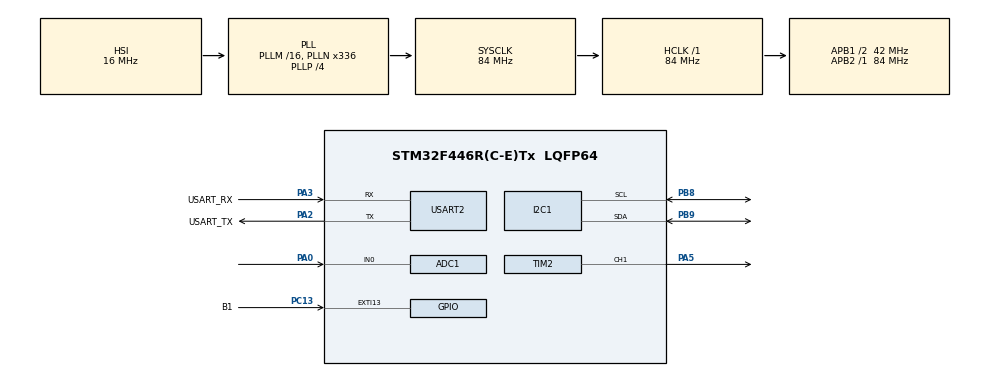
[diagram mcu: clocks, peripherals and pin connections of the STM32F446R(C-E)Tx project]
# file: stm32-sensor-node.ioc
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ADC1.Channel-0\#ChannelRegularConversion=ADC_CHANNEL_0
ADC1.Channel-1\#ChannelRegularConversion=ADC_CHANNEL_TEMPSENSOR
ADC1.Channel-2\#ChannelRegularConversion=ADC_CHANNEL_VREFINT
ADC1.ContinuousConvMode=ENABLE
ADC1.DMAContinuousRequests=ENABLE
ADC1.NbrOfConversion=3
ADC1.NbrOfConversionFlag=1
ADC1.Rank-0\#ChannelRegularConversion=1
ADC1.Rank-1\#ChannelRegularConversion=2
ADC1.Rank-2\#ChannelRegularConversion=3
ADC1.SamplingTime-0\#ChannelRegularConversion=ADC_SAMPLETIME_480CYCLES
ADC1.SamplingTime-1\#ChannelRegularConversion=ADC_SAMPLETIME_480CYCLES
ADC1.SamplingTime-2\#ChannelRegularConversion=ADC_SAMPLETIME_480CYCLES
ADC1.ScanConvMode=ENABLE
ADC1.master=1
Dma.ADC1.0.Direction=DMA_PERIPH_TO_MEMORY
Dma.ADC1.0.FIFOMode=DMA_FIFOMODE_DISABLE
Dma.ADC1.0.Instance=DMA2_Stream0
Dma.ADC1.0.MemDataAlignment=DMA_MDATAALIGN_HALFWORD
Dma.ADC1.0.MemInc=DMA_MINC_ENABLE
Dma.ADC1.0.Mode=DMA_CIRCULAR
Dma.ADC1.0.PeriphDataAlignment=DMA_PDATAALIGN_HALFWORD
Dma.ADC1.0.PeriphInc=DMA_PINC_DISABLE
Dma.ADC1.0.Priority=DMA_PRIORITY_LOW
Dma.Request0=ADC1
FREERTOS.Tasks01=shellTask,24,512,run_shell_task,Default,NULL,Dynamic,NULL,NULL;ReportTask,16,512,run_report_task,Default,NULL,Dynamic,NULL,NULL
FREERTOS.configUSE_NEWLIB_REENTRANT=1
Mcu.Family=STM32F4
Mcu.Name=STM32F446R(C-E)Tx
Mcu.Package=LQFP64
NVIC.DMA2_Stream0_IRQn=true\:5\:0\:false\:false\:true\:true\:false\:true\:true
NVIC.EXTI15_10_IRQn=true\:5\:0\:false\:false\:true\:true\:true\:true\:true
NVIC.PriorityGroup=NVIC_PRIORITYGROUP_4
NVIC.TIM7_IRQn=true\:15\:0\:false\:false\:true\:false\:false\:true\:true
NVIC.TimeBase=TIM7_IRQn
NVIC.TimeBaseIP=TIM7
NVIC.USART2_IRQn=true\:5\:0\:false\:false\:true\:true\:true\:true\:true
PA0-WKUP.Signal=ADCx_IN0
PA13.GPIO_Label=TMS
PA13.Mode=Serial_Wire
PA13.Signal=SYS_JTMS-SWDIO
PA14.GPIO_Label=TCK
PA14.Mode=Serial_Wire
PA14.Signal=SYS_JTCK-SWCLK
PA2.GPIO_Label=USART_TX
PA2.Mode=Asynchronous
PA2.Signal=USART2_TX
PA3.GPIO_Label=USART_RX
PA3.Mode=Asynchronous
PA3.Signal=USART2_RX
PA5.Signal=S_TIM2_CH1_ETR
PB3.GPIO_Label=SWO
PB3.Signal=SYS_JTDO-SWO
PB8.Mode=I2C
PB8.Signal=I2C1_SCL
PB9.Mode=I2C
PB9.Signal=I2C1_SDA
PC13.GPIO_Label=B1
PC13.GPIO_ModeDefaultEXTI=GPIO_MODE_IT_FALLING
PC13.Signal=GPXTI13
PC14-OSC32_IN.Signal=RCC_OSC32_IN
PC15-OSC32_OUT.Signal=RCC_OSC32_OUT
PH0-OSC_IN.Signal=RCC_OSC_IN
PH1-OSC_OUT.Signal=RCC_OSC_OUT
ProjectManager.HeapSize=0x200
ProjectManager.StackSize=0x400
ProjectManager.TargetToolchain=STM32CubeIDE
RCC.AHBFreq_Value=84000000
RCC.APB1CLKDivider=RCC_HCLK_DIV2
RCC.APB1Freq_Value=42000000
RCC.APB1TimFreq_Value=84000000
RCC.APB2Freq_Value=84000000
RCC.APB2TimFreq_Value=84000000
RCC.CortexFreq_Value=84000000
RCC.FLatency-AdvancedSettings=FLASH_LATENCY_2
RCC.HCLKFreq_Value=84000000
RCC.HSE_VALUE=8000000
RCC.HSI_VALUE=16000000
RCC.LSE_VALUE=32768
RCC.PLLN=336
RCC.PLLP=RCC_PLLP_DIV4
RCC.SYSCLKFreq_VALUE=84000000
RCC.SYSCLKSource=RCC_SYSCLKSOURCE_PLLCLK
RCC.USBFreq_Value=168000000
RCC.VCOOutputFreq_Value=336000000
SH.ADCx_IN0.0=ADC1_IN0,IN0
SH.S_TIM2_CH1_ETR.0=TIM2_CH1,PWM Generation1 CH1
TIM2.Channel-PWM\ Generation1\ CH1=TIM_CHANNEL_1
TIM2.Period=999
TIM2.Prescaler=83
USART2.VirtualMode=VM_ASYNC
VP_ADC1_TempSens_Input.Mode=IN-TempSens
VP_ADC1_Vref_Input.Mode=IN-Vrefint
VP_FREERTOS_VS_CMSIS_V2.Mode=CMSIS_V2
VP_SYS_VS_tim7.Mode=TIM7
VP_TIM2_VS_ClockSourceINT.Mode=Internal
board=NUCLEO-F446RE

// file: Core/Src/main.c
/* USER CODE BEGIN Header */
/**
  ******************************************************************************
  * @file           : main.c
  * @brief          : Main program body
  ******************************************************************************
  * @attention
  *
  * Copyright (c) 2026 STMicroelectronics.
  * All rights reserved.
  *
  * This software is licensed under terms that can be found in the LICENSE file
  * in the root directory of this software component.
  * If no LICENSE file comes with this software, it is provided AS-IS.
  *
  ******************************************************************************
  */
/* USER CODE END Header */
#include "main.h"
#include "cmsis_os.h"

/* USER CODE BEGIN Includes */

#include <stdbool.h>
#include <string.h>
#include <stdio.h>
#include "bme280.h"

/* USER CODE END Includes */

/* USER CODE BEGIN PTD */

typedef enum
{
    SHELL_EVENT_BUTTON_PRESSED = 0,
    SHELL_EVENT_CHARACTER_RECEIVED = 1
} shell_event_type_t;

typedef struct
{
    shell_event_type_t type;
    uint8_t character;
} shell_event_t;

/* USER CODE END PTD */

/* USER CODE BEGIN PD */

#define COMMAND_MAX_LENGTH             32
#define ADC_MAX_COUNT                  4095
#define ADC_REFERENCE_MILLIVOLTS 3300
#define ADC_TIMEOUT_MS 10
#define REPORT_INTERVAL_MS             5000

#define ADC_CHANNEL_COUNT              3

#define ADC_SLOT_A0                    0
#define ADC_SLOT_CHIP_TEMPERATURE      1
#define ADC_SLOT_INTERNAL_REFERENCE    2

#define TS_CAL1_ADDRESS                ((const uint16_t *)0x1FFF7A2C)
#define TS_CAL2_ADDRESS                ((const uint16_t *)0x1FFF7A2E)
#define VREFINT_CAL_ADDRESS            ((const uint16_t *)0x1FFF7A2A)

#define FACTORY_SUPPLY_MILLIVOLTS      3300
#define TS_CAL1_TEMPERATURE_C          30
#define TS_CAL2_TEMPERATURE_C          110

#define SHELL_EVENT_QUEUE_LENGTH       64

/* USER CODE END PD */

ADC_HandleTypeDef hadc1;
DMA_HandleTypeDef hdma_adc1;

I2C_HandleTypeDef hi2c1;

TIM_HandleTypeDef htim2;

UART_HandleTypeDef huart2;

/* Definitions for shellTask */
osThreadId_t shellTaskHandle;
const osThreadAttr_t shellTask_attributes = {
  .name = "shellTask",
  .stack_size = 512 * 4,
  .priority = (osPriority_t) osPriorityNormal,
};
/* Definitions for ReportTask */
osThreadId_t ReportTaskHandle;
const osThreadAttr_t ReportTask_attributes = {
  .name = "ReportTask",
  .stack_size = 512 * 4,
  .priority = (osPriority_t) osPriorityBelowNormal,
};
/* USER CODE BEGIN PV */

uint32_t last_press_ms =            0;
uint8_t incoming_byte;
char command_text[COMMAND_MAX_LENGTH];
uint8_t command_length =            0;
uint32_t press_count;
char press_message[32];
bool bme280_ready =                 false;
bool auto_report_enabled =          false;
uint8_t led_brightness_percent =    0;
volatile uint16_t adc_latest_counts[ADC_CHANNEL_COUNT];
osMessageQueueId_t shell_event_queue;
osMutexId_t uart_output_mutex;
osMutexId_t sensor_bus_mutex;

/* USER CODE END PV */

void SystemClock_Config(void);
static void MX_GPIO_Init(void);
static void MX_DMA_Init(void);
static void MX_USART2_UART_Init(void);
static void MX_I2C1_Init(void);
static void MX_TIM2_Init(void);
static void MX_ADC1_Init(void);
void run_shell_task(void *argument);
void run_report_task(void *argument);

/* USER CODE BEGIN 0 */

static uint32_t measure_supply_millivolts(void)
{
	uint32_t curvref = adc_latest_counts[ADC_SLOT_INTERNAL_REFERENCE];
	if(curvref == 0){ return 0; }
	uint32_t calc = (FACTORY_SUPPLY_MILLIVOLTS * (*VREFINT_CAL_ADDRESS)) / curvref;
	return calc;
}

static uint32_t measure_a0_millivolts(void)
{
	uint32_t latest_a0_count = adc_latest_counts[ADC_SLOT_A0];
	return (latest_a0_count * measure_supply_millivolts()) / ADC_MAX_COUNT;
}

static int32_t measure_chip_temperature_hundredths(void)
{
	int32_t sensor_count = adc_latest_counts[ADC_SLOT_CHIP_TEMPERATURE];
	int32_t sensor_count_at_factory_supply = (sensor_count * (int32_t)measure_supply_millivolts()) / FACTORY_SUPPLY_MILLIVOLTS;

	int32_t count_at_30c = *TS_CAL1_ADDRESS;
	int32_t count_at_110c = *TS_CAL2_ADDRESS;

	if(count_at_30c == count_at_110c) { return 0; }

	int32_t temp = 3000
			+ (((sensor_count_at_factory_supply - count_at_30c)
			* (TS_CAL2_TEMPERATURE_C - TS_CAL1_TEMPERATURE_C) * 100)
			/(count_at_110c - count_at_30c));

	return temp;
}

static uint32_t adc_count_to_millivolts(uint16_t raw_count)
{
    return ((uint32_t)raw_count * ADC_REFERENCE_MILLIVOLTS) / ADC_MAX_COUNT;
}

static bool read_a0_raw_count(uint16_t *a0_raw_count)
{
    if(HAL_ADC_Start(&hadc1) != HAL_OK){ return false; }
    if(HAL_ADC_PollForConversion(&hadc1, ADC_TIMEOUT_MS) != HAL_OK)
    {
    	HAL_ADC_Stop(&hadc1);
    	return false;
    }

    *a0_raw_count = (uint16_t)HAL_ADC_GetValue(&hadc1);
    HAL_ADC_Stop(&hadc1);
    return true;
}

static void set_led_brightness(uint8_t brightness_percent)
{
	if(brightness_percent > 100)
	{
		brightness_percent = 100;
	}
	led_brightness_percent = brightness_percent;

	uint16_t timer_ticks = (brightness_percent * 10);

	__HAL_TIM_SET_COMPARE(&htim2, TIM_CHANNEL_1, timer_ticks);
}

static int32_t celsius_to_fahrenheit_hundredths(int32_t celsius_hundredths)
{
	return ((celsius_hundredths * 9) / 5) + 3200;
}

static void send_message(const char *text)
{
	HAL_UART_Transmit(&huart2, (uint8_t *)text, strlen(text), HAL_MAX_DELAY);
}

static void send_reading(const char *label, int32_t value_hundredths, const char *unit)
{
	const char *sign = "";

	if (value_hundredths < 0)
	{
		sign = "-";
		value_hundredths = -value_hundredths;
	}

	char reading_message[48];

	snprintf(reading_message, sizeof(reading_message), "%s %s%ld.%02ld %s\r\n",
			label, sign, (long)value_hundredths / 100, (long)value_hundredths % 100, unit);

	send_message(reading_message);
}

static bool get_store_readings(bme_measurements *reading)
{
	bool read_succeeded;
	if(osMutexAcquire(sensor_bus_mutex, osWaitForever) != osOK)
	{
		Error_Handler();
	}
	read_succeeded = bme280_ready && bme280_read(reading);
	osMutexRelease(sensor_bus_mutex);
	if(!read_succeeded)
	{
		send_message("Sensor not responding ");
		send_message(bme280_describe_last_error());
		send_message("\r\n");
		return false;
	}
	return true;
}

static void send_all_readings(void)
{
	bme_measurements readings;
	if(!get_store_readings(&readings)){ return; }
	send_reading("Temperature", readings.temperature_hundredths, "C");
	int32_t F = celsius_to_fahrenheit_hundredths(readings.temperature_hundredths);

	send_reading("Temperature", F, "F");
	send_reading("Humidity", (int32_t)readings.humidity_hundredths, "%");
	send_reading("Pressure", (int32_t)readings.pressure_pascals, "hPa");
}

static void run_command(void)
{
	if(command_length == 0)
	{
		return;
	}

	else if(strcmp(command_text, "led_on") == 0)
	{
		set_led_brightness(100);
		send_message("OK\r\n");
	}
	else if(strcmp(command_text, "led_off") == 0)
	{
		set_led_brightness(0);
		send_message("OK\r\n");
	}
	else if(strcmp(command_text, "status") == 0)
	{
		char status_message[48];
		snprintf(status_message, sizeof(status_message), "LED brightness %d%% Presses %lu\r\n",
				(int)led_brightness_percent, (unsigned long)press_count);
		send_message(status_message);
	}
	else if(strcmp(command_text, "sensor_id") == 0)
	{
		uint8_t sensor_id_value = 0;
		bool id_read_succeeded;

		if(osMutexAcquire(sensor_bus_mutex, osWaitForever) != osOK)
		{
			Error_Handler();
		}
		id_read_succeeded = bme280_read_id(&sensor_id_value);
		osMutexRelease(sensor_bus_mutex);
		if (!id_read_succeeded)
		{
			send_message("Sensor not responding ");
			send_message(bme280_describe_last_error());
			send_message("\r\n");
		}
		else
		{
			char id_message[32];
			snprintf(id_message, sizeof(id_message), "BME280 ID 0x%02X\r\n", sensor_id_value);
			send_message(id_message);
		}
	}
	else if (strcmp(command_text, "temp") == 0)
	{
		bme_measurements values;
		if(get_store_readings(&values))
		{
			send_reading("Temperature", values.temperature_hundredths, "C");
			send_reading("Temperature", celsius_to_fahrenheit_hundredths(values.temperature_hundredths), "F");
		}
	}
	else if (strcmp(command_text, "humidity") == 0)
	{
		bme_measurements values;
		if(get_store_readings(&values))
		{
			send_reading("Humidity", (int32_t)values.humidity_hundredths, "%");
		}
	}
	else if (strcmp(command_text, "pressure") == 0)
	{
		bme_measurements values;
		if(get_store_readings(&values))
		{
			send_reading("Pressure", (int32_t)values.pressure_pascals, "hPa");
		}
	}
	else if (strcmp(command_text, "read") == 0)
	{
		send_all_readings();
	}
	else if (strcmp(command_text, "auto_on") == 0)
	{
		auto_report_enabled = true;
		send_message("OK\r\n");
	}
	else if (strcmp(command_text, "auto_off") == 0)
	{
		auto_report_enabled = false;
		send_message("OK\r\n");
	}
	else if (strcmp(command_text, "a0_voltage") == 0)
	{
		char voltage_message[48];

		snprintf(voltage_message, sizeof(voltage_message), "A0 raw %u = %lu mV\r\n",
				(unsigned int)adc_latest_counts[ADC_SLOT_A0], (unsigned long)measure_a0_millivolts());
		send_message(voltage_message);
	}
	else if (strcmp(command_text, "supply_voltage") == 0)
	{
		char supply_message[32];
		snprintf(supply_message, sizeof(supply_message), "Supply %lu mV\r\n",
		         (unsigned long)measure_supply_millivolts());
		send_message(supply_message);
	}
	else if (strcmp(command_text, "chip_temp") == 0)
	{
		send_reading("Chip temperature", measure_chip_temperature_hundredths(), "C");

		bme_measurements room;
		if (get_store_readings(&room))
		{
			int32_t F = celsius_to_fahrenheit_hundredths(room.temperature_hundredths);
			send_reading("Room temperature (BME280)", room.temperature_hundredths, "C");
			send_reading("Room temperature (BME280)", F, "F");
		}
	}
	else if (strcmp(command_text, "crash_bad_address") == 0)
	{
		send_message("Reading from an address with no memory...\r\n");
		volatile uint32_t value_from_nowhere = *(volatile uint32_t *)0x20030000;
		(void)value_from_nowhere;
	}
	else if (strcmp(command_text, "crash_divide_by_zero") == 0)
	{
		send_message("Dividing by zero...\r\n");
		volatile int32_t numerator = 10;
		volatile int32_t denominator = 0;
		volatile int32_t result = numerator/denominator;
	}
	else
	{
		send_message("Unknown command\r\n");
	}
}

static uint8_t new_brightness(uint8_t current)
{
	uint8_t new = current +25;
	if (new > 100)
	{
		return 0;
	}
	else
	{
		return new;
	}
}

static void handle_received_character(uint8_t character)
{
	// enter
	if(character == '\r')
	{
		send_message("\r\n");
		command_text[command_length] = '\0';
		run_command();
		command_length = 0;
		send_message("> ");
	}
	// backspace
	else if(character == 0x7F || character == '\b')
	{
		if(command_length > 0)
		{
			send_message("\b \b");
			command_length--;
		}
	}
	// normal character
	else if(command_length < (COMMAND_MAX_LENGTH - 1))
	{
		command_text[command_length] = character;
		command_length++;
		HAL_UART_Transmit(&huart2, &character, 1, HAL_MAX_DELAY);
	}
}

static void handle_button_press(void)
{
	press_count++;
	int len = snprintf(press_message, sizeof(press_message), "Pressed %lu\r\n", (unsigned long)press_count);
	HAL_UART_Transmit(&huart2, (uint8_t *)press_message, len, HAL_MAX_DELAY);
	set_led_brightness(new_brightness(led_brightness_percent));
}

/* USER CODE END 0 */

int main(void)
{

  /* MCU Configuration--------------------------------------------------------*/

  /* Reset of all peripherals, Initializes the Flash interface and the Systick. */
  HAL_Init();

  /* Configure the system clock */
  SystemClock_Config();

  /* Initialize all configured peripherals */
  MX_GPIO_Init();
  MX_DMA_Init();
  MX_USART2_UART_Init();
  MX_I2C1_Init();
  MX_TIM2_Init();
  MX_ADC1_Init();
  /* USER CODE BEGIN 2 */

  SCB->CCR |= SCB_CCR_DIV_0_TRP_Msk;

  if(HAL_ADC_Start_DMA(&hadc1, (uint32_t *)adc_latest_counts, ADC_CHANNEL_COUNT) != HAL_OK)
  {
	  Error_Handler();
  }
  bme280_ready = bme280_init(&hi2c1);

  HAL_TIM_PWM_Start(&htim2, TIM_CHANNEL_1);

  if(!bme280_ready)
  {
	  send_message("bme 280 is not ready\r\n");
  }

  send_message("\r\nReady. Commands: led_on, led_off, status, sensor_id, "
		  "temp, humidity, pressure, read, auto_on, auto_off, a0_voltage, supply_voltage, chip_temp, "
		  "crash_bad_address, crash_divide_by_zero\r\n> ");

  /* USER CODE END 2 */

  /* Init scheduler */
  osKernelInitialize();

  /* USER CODE BEGIN RTOS_MUTEX */
  /* add mutexes, ... */
  const osMutexAttr_t uart_output_mutex_attributes = {
      .name = "uart_output",
      .attr_bits = osMutexPrioInherit
  };

  const osMutexAttr_t sensor_bus_mutex_attributes = {
      .name = "sensor_bus",
      .attr_bits = osMutexPrioInherit
  };

  uart_output_mutex = osMutexNew(&uart_output_mutex_attributes);
  sensor_bus_mutex = osMutexNew(&sensor_bus_mutex_attributes);

  if(uart_output_mutex == NULL || sensor_bus_mutex == NULL)
  {
	  Error_Handler();
  }
  /* USER CODE END RTOS_MUTEX */

  /* USER CODE BEGIN RTOS_QUEUES */
  /* add queues, ... */
  shell_event_queue = osMessageQueueNew(SHELL_EVENT_QUEUE_LENGTH, sizeof(shell_event_t), NULL);
  HAL_UART_Receive_IT(&huart2, &incoming_byte, 1);
  /* USER CODE END RTOS_QUEUES */

  /* Create the thread(s) */
  /* creation of shellTask */
  shellTaskHandle = osThreadNew(run_shell_task, NULL, &shellTask_attributes);

  /* creation of ReportTask */
  ReportTaskHandle = osThreadNew(run_report_task, NULL, &ReportTask_attributes);

  /* Start scheduler */
  osKernelStart();

  /* We should never get here as control is now taken by the scheduler */

  /* Infinite loop */
  while (1)
  {

  }
}

void SystemClock_Config(void)
{
  RCC_OscInitTypeDef RCC_OscInitStruct = {0};
  RCC_ClkInitTypeDef RCC_ClkInitStruct = {0};

  /** Configure the main internal regulator output voltage
  */
  __HAL_RCC_PWR_CLK_ENABLE();
  __HAL_PWR_VOLTAGESCALING_CONFIG(PWR_REGULATOR_VOLTAGE_SCALE3);

  /** Initializes the RCC Oscillators according to the specified parameters
  * in the RCC_OscInitTypeDef structure.
  */
  RCC_OscInitStruct.OscillatorType = RCC_OSCILLATORTYPE_HSI;
  RCC_OscInitStruct.HSIState = RCC_HSI_ON;
  RCC_OscInitStruct.HSICalibrationValue = RCC_HSICALIBRATION_DEFAULT;
  RCC_OscInitStruct.PLL.PLLState = RCC_PLL_ON;
  RCC_OscInitStruct.PLL.PLLSource = RCC_PLLSOURCE_HSI;
  RCC_OscInitStruct.PLL.PLLM = 16;
  RCC_OscInitStruct.PLL.PLLN = 336;
  RCC_OscInitStruct.PLL.PLLP = RCC_PLLP_DIV4;
  RCC_OscInitStruct.PLL.PLLQ = 2;
  RCC_OscInitStruct.PLL.PLLR = 2;
  if (HAL_RCC_OscConfig(&RCC_OscInitStruct) != HAL_OK)
  {
    Error_Handler();
  }

  /** Initializes the CPU, AHB and APB buses clocks
  */
  RCC_ClkInitStruct.ClockType = RCC_CLOCKTYPE_HCLK|RCC_CLOCKTYPE_SYSCLK
                              |RCC_CLOCKTYPE_PCLK1|RCC_CLOCKTYPE_PCLK2;
  RCC_ClkInitStruct.SYSCLKSource = RCC_SYSCLKSOURCE_PLLCLK;
  RCC_ClkInitStruct.AHBCLKDivider = RCC_SYSCLK_DIV1;
  RCC_ClkInitStruct.APB1CLKDivider = RCC_HCLK_DIV2;
  RCC_ClkInitStruct.APB2CLKDivider = RCC_HCLK_DIV1;

  if (HAL_RCC_ClockConfig(&RCC_ClkInitStruct, FLASH_LATENCY_2) != HAL_OK)
  {
    Error_Handler();
  }
}

static void MX_ADC1_Init(void)
{

  ADC_ChannelConfTypeDef sConfig = {0};

  /** Configure the global features of the ADC (Clock, Resolution, Data Alignment and number of conversion)
  */
  hadc1.Instance = ADC1;
  hadc1.Init.ClockPrescaler = ADC_CLOCK_SYNC_PCLK_DIV4;
  hadc1.Init.Resolution = ADC_RESOLUTION_12B;
  hadc1.Init.ScanConvMode = ENABLE;
  hadc1.Init.ContinuousConvMode = ENABLE;
  hadc1.Init.DiscontinuousConvMode = DISABLE;
  hadc1.Init.ExternalTrigConvEdge = ADC_EXTERNALTRIGCONVEDGE_NONE;
  hadc1.Init.ExternalTrigConv = ADC_SOFTWARE_START;
  hadc1.Init.DataAlign = ADC_DATAALIGN_RIGHT;
  hadc1.Init.NbrOfConversion = 3;
  hadc1.Init.DMAContinuousRequests = ENABLE;
  hadc1.Init.EOCSelection = ADC_EOC_SINGLE_CONV;
  if (HAL_ADC_Init(&hadc1) != HAL_OK)
  {
    Error_Handler();
  }

  /** Configure for the selected ADC regular channel its corresponding rank in the sequencer and its sample time.
  */
  sConfig.Channel = ADC_CHANNEL_0;
  sConfig.Rank = 1;
  sConfig.SamplingTime = ADC_SAMPLETIME_480CYCLES;
  if (HAL_ADC_ConfigChannel(&hadc1, &sConfig) != HAL_OK)
  {
    Error_Handler();
  }

  /** Configure for the selected ADC regular channel its corresponding rank in the sequencer and its sample time.
  */
  sConfig.Channel = ADC_CHANNEL_TEMPSENSOR;
  sConfig.Rank = 2;
  if (HAL_ADC_ConfigChannel(&hadc1, &sConfig) != HAL_OK)
  {
    Error_Handler();
  }

  /** Configure for the selected ADC regular channel its corresponding rank in the sequencer and its sample time.
  */
  sConfig.Channel = ADC_CHANNEL_VREFINT;
  sConfig.Rank = 3;
  if (HAL_ADC_ConfigChannel(&hadc1, &sConfig) != HAL_OK)
  {
    Error_Handler();
  }

}

static void MX_I2C1_Init(void)
{

  hi2c1.Instance = I2C1;
  hi2c1.Init.ClockSpeed = 100000;
  hi2c1.Init.DutyCycle = I2C_DUTYCYCLE_2;
  hi2c1.Init.OwnAddress1 = 0;
  hi2c1.Init.AddressingMode = I2C_ADDRESSINGMODE_7BIT;
  hi2c1.Init.DualAddressMode = I2C_DUALADDRESS_DISABLE;
  hi2c1.Init.OwnAddress2 = 0;
  hi2c1.Init.GeneralCallMode = I2C_GENERALCALL_DISABLE;
  hi2c1.Init.NoStretchMode = I2C_NOSTRETCH_DISABLE;
  if (HAL_I2C_Init(&hi2c1) != HAL_OK)
  {
    Error_Handler();
  }

}

static void MX_TIM2_Init(void)
{

  TIM_ClockConfigTypeDef sClockSourceConfig = {0};
  TIM_MasterConfigTypeDef sMasterConfig = {0};
  TIM_OC_InitTypeDef sConfigOC = {0};

  htim2.Instance = TIM2;
  htim2.Init.Prescaler = 83;
  htim2.Init.CounterMode = TIM_COUNTERMODE_UP;
  htim2.Init.Period = 999;
  htim2.Init.ClockDivision = TIM_CLOCKDIVISION_DIV1;
  htim2.Init.AutoReloadPreload = TIM_AUTORELOAD_PRELOAD_DISABLE;
  if (HAL_TIM_Base_Init(&htim2) != HAL_OK)
  {
    Error_Handler();
  }
  sClockSourceConfig.ClockSource = TIM_CLOCKSOURCE_INTERNAL;
  if (HAL_TIM_ConfigClockSource(&htim2, &sClockSourceConfig) != HAL_OK)
  {
    Error_Handler();
  }
  if (HAL_TIM_PWM_Init(&htim2) != HAL_OK)
  {
    Error_Handler();
  }
  sMasterConfig.MasterOutputTrigger = TIM_TRGO_RESET;
  sMasterConfig.MasterSlaveMode = TIM_MASTERSLAVEMODE_DISABLE;
  if (HAL_TIMEx_MasterConfigSynchronization(&htim2, &sMasterConfig) != HAL_OK)
  {
    Error_Handler();
  }
  sConfigOC.OCMode = TIM_OCMODE_PWM1;
  sConfigOC.Pulse = 0;
  sConfigOC.OCPolarity = TIM_OCPOLARITY_HIGH;
  sConfigOC.OCFastMode = TIM_OCFAST_DISABLE;
  if (HAL_TIM_PWM_ConfigChannel(&htim2, &sConfigOC, TIM_CHANNEL_1) != HAL_OK)
  {
    Error_Handler();
  }
  HAL_TIM_MspPostInit(&htim2);

}

static void MX_USART2_UART_Init(void)
{

  huart2.Instance = USART2;
  huart2.Init.BaudRate = 115200;
  huart2.Init.WordLength = UART_WORDLENGTH_8B;
  huart2.Init.StopBits = UART_STOPBITS_1;
  huart2.Init.Parity = UART_PARITY_NONE;
  huart2.Init.Mode = UART_MODE_TX_RX;
  huart2.Init.HwFlowCtl = UART_HWCONTROL_NONE;
  huart2.Init.OverSampling = UART_OVERSAMPLING_16;
  if (HAL_UART_Init(&huart2) != HAL_OK)
  {
    Error_Handler();
  }

}

static void MX_DMA_Init(void)
{

  /* DMA controller clock enable */
  __HAL_RCC_DMA2_CLK_ENABLE();

  /* DMA interrupt init */
  /* DMA2_Stream0_IRQn interrupt configuration */
  HAL_NVIC_SetPriority(DMA2_Stream0_IRQn, 5, 0);
  HAL_NVIC_EnableIRQ(DMA2_Stream0_IRQn);

}

static void MX_GPIO_Init(void)
{
  GPIO_InitTypeDef GPIO_InitStruct = {0};

  /* GPIO Ports Clock Enable */
  __HAL_RCC_GPIOC_CLK_ENABLE();
  __HAL_RCC_GPIOH_CLK_ENABLE();
  __HAL_RCC_GPIOA_CLK_ENABLE();
  __HAL_RCC_GPIOB_CLK_ENABLE();

  /*Configure GPIO pin : B1_Pin */
  GPIO_InitStruct.Pin = B1_Pin;
  GPIO_InitStruct.Mode = GPIO_MODE_IT_FALLING;
  GPIO_InitStruct.Pull = GPIO_NOPULL;
  HAL_GPIO_Init(B1_GPIO_Port, &GPIO_InitStruct);

  /* EXTI interrupt init*/
  HAL_NVIC_SetPriority(EXTI15_10_IRQn, 5, 0);
  HAL_NVIC_EnableIRQ(EXTI15_10_IRQn);

}

/* USER CODE BEGIN 4 */

void HAL_GPIO_EXTI_Callback(uint16_t GPIO_Pin)
{
	if(GPIO_Pin == B1_Pin)
	{
		uint32_t now = HAL_GetTick();
		if(now - last_press_ms >= 50)
		{
			shell_event_t button_event;
			button_event.type = SHELL_EVENT_BUTTON_PRESSED;
			button_event.character = 0;

			last_press_ms = now;
			osMessageQueuePut(shell_event_queue, &button_event, 0, 0);
		}
	}
}
void HAL_UART_RxCpltCallback(UART_HandleTypeDef *huart)
{
	if(huart == &huart2)
	{

		shell_event_t character_event;
		character_event.type = SHELL_EVENT_CHARACTER_RECEIVED;
		character_event.character = incoming_byte;
		osMessageQueuePut(shell_event_queue, &character_event, 0, 0);
		HAL_UART_Receive_IT(&huart2, &incoming_byte, 1);
	}
}

/* USER CODE END 4 */

void run_shell_task(void *argument)
{
  /* USER CODE BEGIN 5 */
  /* Infinite loop */
	for(;;)
	{
		shell_event_t event;
		if(osMessageQueueGet(shell_event_queue, &event, NULL, osWaitForever) != osOK)
		{
			continue;
		}
		if(osMutexAcquire(uart_output_mutex, osWaitForever) != osOK)
		{
			Error_Handler();
		}
		if(event.type == SHELL_EVENT_BUTTON_PRESSED)
		{
			handle_button_press();
		}
		else if(event.type == SHELL_EVENT_CHARACTER_RECEIVED)
		{
			handle_received_character(event.character);
		}
		osMutexRelease(uart_output_mutex);
	}
  /* USER CODE END 5 */
}

void run_report_task(void *argument)
{
  /* USER CODE BEGIN run_report_task */
  /* Infinite loop */
	for(;;)
	{
		osDelay(REPORT_INTERVAL_MS);

		if(auto_report_enabled)
		{
			if(osMutexAcquire(uart_output_mutex, osWaitForever) != osOK)
			{
				Error_Handler();
			}
			send_all_readings();
			osMutexRelease(uart_output_mutex);
		}
	}
  /* USER CODE END run_report_task */
}

void HAL_TIM_PeriodElapsedCallback(TIM_HandleTypeDef *htim)
{
  if (htim->Instance == TIM7)
  {
    HAL_IncTick();
  }
}

void Error_Handler(void)
{
  __disable_irq();
  while (1)
  {
  }
}
